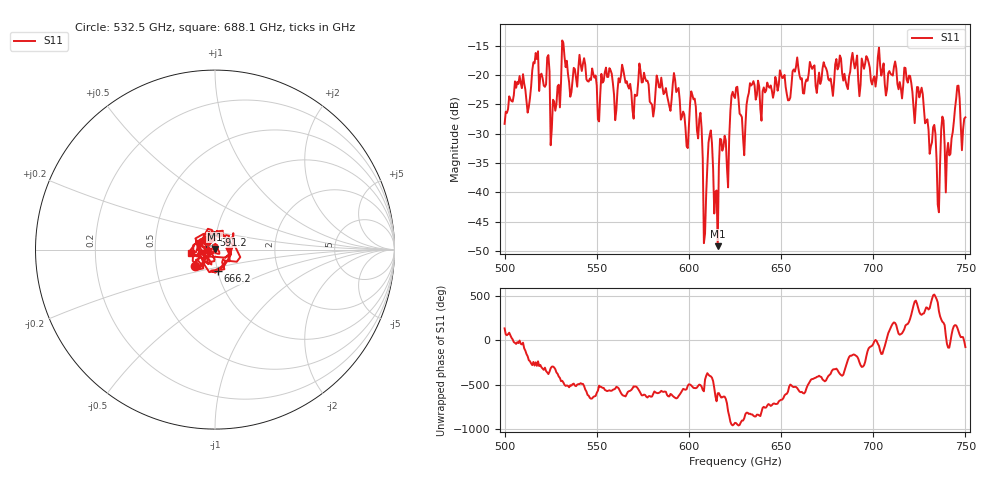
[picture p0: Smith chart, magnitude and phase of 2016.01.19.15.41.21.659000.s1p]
!Created with skrf (http://scikit-rf.org).
# GHz S RI R 50.0
!freq ReS11 ImS11
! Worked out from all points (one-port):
!   401 points, 500 GHz to 750 GHz, reference 50 ohm
!   lowest |S11| = -49.2 dB at 615.6 GHz (marker M1), VSWR 1.01, Z = 49.8 + j0.284 ohm
!   |S11| at or under -10 dB: start of sweep to end of sweep
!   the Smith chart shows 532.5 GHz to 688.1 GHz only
!   S11 on the Smith chart (normalised r, x): 532.5 GHz: 0.79, -0.15; 591.2 GHz: 0.97, +0.16; 666.2 GHz: 1.01, -0.24; 688.1 GHz: 0.76, -0.03
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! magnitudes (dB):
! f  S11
! 500 GHz  -28.3
! 506.9 GHz  -21.2
! 513.1 GHz  -25.4
! 516.9 GHz  -16.2
! 526.2 GHz  -24.2
! 531.2 GHz  -14.1
! 532.5 GHz  -16.9
! 550.6 GHz  -27.6
! 562.5 GHz  -21.2
! 591.2 GHz  -21.5
! 593.8 GHz  -22.6
! 598.8 GHz  -32.1
! 602.5 GHz  -24.1
! 608.8 GHz  -47.0
! 611.2 GHz  -30.2
! 614.4 GHz  -40.0
! 615.6 GHz  -49.2
! 625 GHz  -23.9
! 629.4 GHz  -30.8
! 634.4 GHz  -21.5
! 656.2 GHz  -19.3
! 666.2 GHz  -18.4
! 687.5 GHz  -19.4
! 688.1 GHz  -17.3
! 718.8 GHz  -21.3
! 735 GHz  -42.1
! 745.6 GHz  -21.8
! 750 GHz  -27.2
